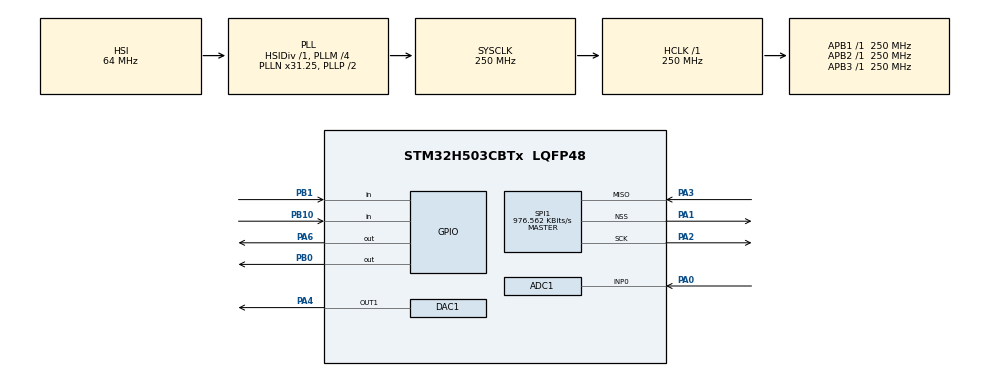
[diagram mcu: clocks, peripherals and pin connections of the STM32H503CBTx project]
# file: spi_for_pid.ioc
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ADC1.Channel-0\#ChannelRegularConversion=ADC_CHANNEL_0
ADC1.MonitoredBy-0\#ChannelRegularConversion=__NULL
ADC1.NbrOfConversionFlag=1
ADC1.OffsetNumber-0\#ChannelRegularConversion=ADC_OFFSET_NONE
ADC1.Rank-0\#ChannelRegularConversion=1
ADC1.SamplingTime-0\#ChannelRegularConversion=ADC_SAMPLETIME_2CYCLES_5
ADC1.master=1
BOOTPATH.BootPathName=LEGACY
BOOTPATH.UserSelectedBootPath=LEGACY
DAC1.DAC_Channel-DAC_OUT1_ExtAndInt=DAC_CHANNEL_1
Mcu.Family=STM32H5
Mcu.Name=STM32H503CBTx
Mcu.Package=LQFP48
NVIC.PriorityGroup=NVIC_PRIORITYGROUP_4
PA0.Signal=ADCx_INP0
PA1.Mode=NSS_Signal_Hard_Output
PA1.Signal=SPI1_NSS
PA13(JTMS/SWDIO).Mode=Serial_Wire
PA13(JTMS/SWDIO).Signal=DEBUG_JTMS-SWDIO
PA14(JTCK/SWCLK).Mode=Serial_Wire
PA14(JTCK/SWCLK).Signal=DEBUG_JTCK-SWCLK
PA2.Mode=RX_Only_Simplex_Unidirect_Master
PA2.Signal=SPI1_SCK
PA3.Mode=RX_Only_Simplex_Unidirect_Master
PA3.Signal=SPI1_MISO
PA4.Signal=COMP_DAC11_group
PA6.Signal=GPIO_Output
PB0.Signal=GPIO_Output
PB1.Signal=GPIO_Input
PB10.Signal=GPIO_Input
PH0-OSC_IN(PH0).Mode=HSE-External-Oscillator
PH0-OSC_IN(PH0).Signal=RCC_OSC_IN
PH1-OSC_OUT(PH1).Mode=HSE-External-Oscillator
PH1-OSC_OUT(PH1).Signal=RCC_OSC_OUT
ProjectManager.HeapSize=0x200
ProjectManager.StackSize=0x400
ProjectManager.TargetToolchain=STM32CubeIDE
RCC.ADCCLockSelection=RCC_ADCDACCLKSOURCE_HSE
RCC.ADCFreq_Value=50000000
RCC.AHBFreq_Value=250000000
RCC.APB1Freq_Value=250000000
RCC.APB1TimFreq_Value=250000000
RCC.APB2Freq_Value=250000000
RCC.APB2TimFreq_Value=250000000
RCC.APB3Freq_Value=250000000
RCC.CSI_VALUE=4000000
RCC.CortexFreq_Value=250000000
RCC.DACLowPowerCLockSelection=RCC_DACLPCLKSOURCE_LSI
RCC.EPOD_VALUE=64000000
RCC.HCLKFreq_Value=250000000
RCC.HSE_VALUE=50000000
RCC.HSI48_VALUE=48000000
RCC.HSIDiv=RCC_HSI_DIV1
RCC.HSI_VALUE=64000000
RCC.LSE_VALUE=32768
RCC.LSIRC_VALUE=32000
RCC.PLLFRACN=2048
RCC.PLLM=4
RCC.PLLN=31
RCC.PLLSourceVirtual=RCC_PLL1_SOURCE_HSI
RCC.SYSCLKFreq_VALUE=250000000
RCC.SYSCLKSource=RCC_SYSCLKSOURCE_PLLCLK
RCC.USBFreq_Value=48000000
RCC.VCOOutputFreq_Value=500000000
SH.ADCx_INP0.0=ADC1_INP0,IN0-Single-Ended
SH.COMP_DAC11_group.0=DAC1_OUT1,DAC_OUT1_ExtAndInt
SPI1.BaudRatePrescaler=SPI_BAUDRATEPRESCALER_256
SPI1.CLKPhase=SPI_PHASE_2EDGE
SPI1.CLKPolarity=SPI_POLARITY_HIGH
SPI1.CalculateBaudRate=976.562 KBits/s
SPI1.DataSize=SPI_DATASIZE_16BIT
SPI1.Direction=SPI_DIRECTION_2LINES_RXONLY
SPI1.FirstBit=SPI_FIRSTBIT_MSB
SPI1.MasterInterDataIdleness=SPI_MASTER_INTERDATA_IDLENESS_06CYCLE
SPI1.MasterSSIdleness=SPI_MASTER_SS_IDLENESS_06CYCLE
SPI1.Mode=SPI_MODE_MASTER
SPI1.VirtualNSS=VM_NSSHARD
SPI1.VirtualType=VM_MASTER
VP_BOOTPATH_VS_BOOTPATH.Mode=BP_Activate
VP_CORTEX_M33_NS_VS_Hclk.Mode=Hclk_Mode
VP_ICACHE_VS_ICACHE.Mode=DefaultMode
VP_MEMORYMAP_VS_MEMORYMAP.Mode=CurAppReg
VP_PWR_VS_DBSignals.Mode=DisableDeadBatterySignals
VP_PWR_VS_LPOM.Mode=PowerOptimisation
VP_PWR_VS_SECSignals.Mode=Security/Privilege
board=custom

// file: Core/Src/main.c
/* USER CODE BEGIN Header */
/**
  ******************************************************************************
  * @file           : main.c
  * @brief          : Main program body
  ******************************************************************************
  * @attention
  *
  * Copyright (c) 2024 STMicroelectronics.
  * All rights reserved.
  *
  * This software is licensed under terms that can be found in the LICENSE file
  * in the root directory of this software component.
  * If no LICENSE file comes with this software, it is provided AS-IS.
  *
  ******************************************************************************
  */
/* USER CODE END Header */
#include "main.h"
#include "../pid_lib/PID.h"

/* USER CODE BEGIN PD */
/* Controller parame5ters */
//#define LOW_HZ

#ifdef LOW_HZ

#define PID_KP  0.01f
#define PID_KI  0.65f
#define PID_KD  0.0f

#define PID_TAU 0.02f

#define PID_LIM_MIN 0.0f
#define PID_LIM_MAX 0.5f

#define PID_LIM_MIN_INT -8.3f
#define PID_LIM_MAX_INT  8.3f

#define SAMPLE_TIME_S 1.0f

/* Maximum run-time of simulation */
#define SIMULATION_TIME_MAX 4.0f

#endif

#ifndef LOW_HZ

#define PID_KP  0.3f
#define PID_KI  0.75f
#define PID_KD  0.0f

#define PID_TAU 0.02f

#define PID_LIM_MIN 0.0f
#define PID_LIM_MAX 0.5f

#define PID_LIM_MIN_INT -3.3f
#define PID_LIM_MAX_INT  3.3f

#define SAMPLE_TIME_S 1.0f

/* Maximum run-time of simulation */
#define SIMULATION_TIME_MAX 4.0f

#endif

#define POWER_SUPLY_3V3 4.5f
#define POWER_SUPLY_5V 5.2f

/* USER CODE END PD */

ADC_HandleTypeDef hadc1;

DAC_HandleTypeDef hdac1;

SPI_HandleTypeDef hspi1;

void SystemClock_Config(void);
static void MX_GPIO_Init(void);
static void MX_ADC1_Init(void);
static void MX_DAC1_Init(void);
static void MX_SPI1_Init(void);
static void MX_ICACHE_Init(void);

/* USER CODE BEGIN 0 */
ticks = 0;

float AD7683_Read(void) {
    uint16_t data = 0;
    float out_data = 0;

    if (HAL_SPI_Receive(&hspi1, (uint8_t*)&data, 2, HAL_MAX_DELAY) != HAL_OK) {
        Error_Handler();
    }

    out_data = ((float)(data)) / (8.4 * 24.4444);
    return out_data;
}

float ADC_Read(void) {
	HAL_ADC_Start(&hadc1);
	HAL_ADC_PollForConversion(&hadc1, 1000);
	uint16_t data = 0;
    float out_data = 0;
    //HAL_ADC_Start(&hadc1);
    data = HAL_ADC_GetValue(&hadc1);
    //HAL_ADC_Stop(&hadc1);
    out_data = (float)data / 4095.0 * 3.3;
    return out_data;
}

void DAC_Write(float data) {
	uint16_t data_to_DAC = (uint16_t)round(data * 4095 / 3.3);

    HAL_DAC_SetValue(&hdac1, DAC_CHANNEL_1, DAC_ALIGN_12B_R, data_to_DAC);
}

/* USER CODE END 0 */

int main(void)
{

  /* USER CODE BEGIN 1 */
    /* Initialise PID controller */
    PIDController pid = { PID_KP, PID_KI, PID_KD,
                          PID_TAU,
                          PID_LIM_MIN, PID_LIM_MAX,
			  PID_LIM_MIN_INT, PID_LIM_MAX_INT,
                          SAMPLE_TIME_S };

    PIDController_Init(&pid);
  /* USER CODE END 1 */

  /* MCU Configuration--------------------------------------------------------*/

  /* Reset of all peripherals, Initializes the Flash interface and the Systick. */
  HAL_Init();

  /* Configure the system clock */
  SystemClock_Config();

  /* Initialize all configured peripherals */
  MX_GPIO_Init();
  MX_ADC1_Init();
  MX_DAC1_Init();
  MX_SPI1_Init();
  MX_ICACHE_Init();
  /* USER CODE BEGIN 2 */
  float setpoint = 0;
  float measurement = 0;
  float v_out = 0;

  static GPIO_PinState previousState = GPIO_PIN_SET;

  HAL_GPIO_WritePin (GPIOA,GPIO_PIN_6, GPIO_PIN_SET);

  HAL_DAC_Start(&hdac1, DAC_CHANNEL_1);
  /* USER CODE END 2 */

  /* Infinite loop */
  while (1)
  {

    /* USER CODE BEGIN 3 */
	  if((previousState == GPIO_PIN_SET) && (HAL_GPIO_ReadPin(GPIOB, GPIO_PIN_10) == GPIO_PIN_RESET))
      {
		  //HAL_GPIO_WritePin (GPIOA,GPIO_PIN_6, GPIO_PIN_RESET);
		  //pid.T = (float)(ticks / 1);
		  setpoint = ADC_Read();
    	  measurement = AD7683_Read();
    	  PIDController_Update(&pid, setpoint, measurement);
    	  v_out = pid.out;
    	  DAC_Write(v_out);

    	  previousState = GPIO_PIN_RESET;
    	  HAL_ADC_Stop(&hadc1);
		  ticks = 0;
		  //HAL_GPIO_WritePin (GPIOA,GPIO_PIN_6, GPIO_PIN_SET);
      }
	  else if (HAL_GPIO_ReadPin(GPIOB, GPIO_PIN_10) == GPIO_PIN_SET) {
    	  previousState = GPIO_PIN_SET;
      }

  }
  /* USER CODE END 3 */
}

void SystemClock_Config(void)
{
  RCC_OscInitTypeDef RCC_OscInitStruct = {0};
  RCC_ClkInitTypeDef RCC_ClkInitStruct = {0};

  /** Configure the main internal regulator output voltage
  */
  __HAL_PWR_VOLTAGESCALING_CONFIG(PWR_REGULATOR_VOLTAGE_SCALE0);

  while(!__HAL_PWR_GET_FLAG(PWR_FLAG_VOSRDY)) {}

  /** Initializes the RCC Oscillators according to the specified parameters
  * in the RCC_OscInitTypeDef structure.
  */
  RCC_OscInitStruct.OscillatorType = RCC_OSCILLATORTYPE_HSI|RCC_OSCILLATORTYPE_LSI
                              |RCC_OSCILLATORTYPE_HSE;
  RCC_OscInitStruct.HSEState = RCC_HSE_ON;
  RCC_OscInitStruct.HSIState = RCC_HSI_ON;
  RCC_OscInitStruct.HSIDiv = RCC_HSI_DIV1;
  RCC_OscInitStruct.HSICalibrationValue = RCC_HSICALIBRATION_DEFAULT;
  RCC_OscInitStruct.LSIState = RCC_LSI_ON;
  RCC_OscInitStruct.PLL.PLLState = RCC_PLL_ON;
  RCC_OscInitStruct.PLL.PLLSource = RCC_PLL1_SOURCE_HSI;
  RCC_OscInitStruct.PLL.PLLM = 4;
  RCC_OscInitStruct.PLL.PLLN = 31;
  RCC_OscInitStruct.PLL.PLLP = 2;
  RCC_OscInitStruct.PLL.PLLQ = 2;
  RCC_OscInitStruct.PLL.PLLR = 2;
  RCC_OscInitStruct.PLL.PLLRGE = RCC_PLL1_VCIRANGE_3;
  RCC_OscInitStruct.PLL.PLLVCOSEL = RCC_PLL1_VCORANGE_WIDE;
  RCC_OscInitStruct.PLL.PLLFRACN = 2048;
  if (HAL_RCC_OscConfig(&RCC_OscInitStruct) != HAL_OK)
  {
    Error_Handler();
  }

  /** Initializes the CPU, AHB and APB buses clocks
  */
  RCC_ClkInitStruct.ClockType = RCC_CLOCKTYPE_HCLK|RCC_CLOCKTYPE_SYSCLK
                              |RCC_CLOCKTYPE_PCLK1|RCC_CLOCKTYPE_PCLK2
                              |RCC_CLOCKTYPE_PCLK3;
  RCC_ClkInitStruct.SYSCLKSource = RCC_SYSCLKSOURCE_PLLCLK;
  RCC_ClkInitStruct.AHBCLKDivider = RCC_SYSCLK_DIV1;
  RCC_ClkInitStruct.APB1CLKDivider = RCC_HCLK_DIV1;
  RCC_ClkInitStruct.APB2CLKDivider = RCC_HCLK_DIV1;
  RCC_ClkInitStruct.APB3CLKDivider = RCC_HCLK_DIV1;

  if (HAL_RCC_ClockConfig(&RCC_ClkInitStruct, FLASH_LATENCY_5) != HAL_OK)
  {
    Error_Handler();
  }
}

static void MX_ADC1_Init(void)
{

  ADC_ChannelConfTypeDef sConfig = {0};

  /** Common config
  */
  hadc1.Instance = ADC1;
  hadc1.Init.ClockPrescaler = ADC_CLOCK_ASYNC_DIV2;
  hadc1.Init.Resolution = ADC_RESOLUTION_12B;
  hadc1.Init.DataAlign = ADC_DATAALIGN_RIGHT;
  hadc1.Init.ScanConvMode = ADC_SCAN_DISABLE;
  hadc1.Init.EOCSelection = ADC_EOC_SINGLE_CONV;
  hadc1.Init.LowPowerAutoWait = DISABLE;
  hadc1.Init.ContinuousConvMode = DISABLE;
  hadc1.Init.NbrOfConversion = 1;
  hadc1.Init.DiscontinuousConvMode = DISABLE;
  hadc1.Init.ExternalTrigConv = ADC_SOFTWARE_START;
  hadc1.Init.ExternalTrigConvEdge = ADC_EXTERNALTRIGCONVEDGE_NONE;
  hadc1.Init.DMAContinuousRequests = DISABLE;
  hadc1.Init.SamplingMode = ADC_SAMPLING_MODE_NORMAL;
  hadc1.Init.Overrun = ADC_OVR_DATA_PRESERVED;
  hadc1.Init.OversamplingMode = DISABLE;
  if (HAL_ADC_Init(&hadc1) != HAL_OK)
  {
    Error_Handler();
  }

  /** Configure Regular Channel
  */
  sConfig.Channel = ADC_CHANNEL_0;
  sConfig.Rank = ADC_REGULAR_RANK_1;
  sConfig.SamplingTime = ADC_SAMPLETIME_2CYCLES_5;
  sConfig.SingleDiff = ADC_SINGLE_ENDED;
  sConfig.OffsetNumber = ADC_OFFSET_NONE;
  sConfig.Offset = 0;
  if (HAL_ADC_ConfigChannel(&hadc1, &sConfig) != HAL_OK)
  {
    Error_Handler();
  }

}

static void MX_DAC1_Init(void)
{

  DAC_ChannelConfTypeDef sConfig = {0};

  /** DAC Initialization
  */
  hdac1.Instance = DAC1;
  if (HAL_DAC_Init(&hdac1) != HAL_OK)
  {
    Error_Handler();
  }

  /** DAC channel OUT1 config
  */
  sConfig.DAC_HighFrequency = DAC_HIGH_FREQUENCY_INTERFACE_MODE_DISABLE;
  sConfig.DAC_DMADoubleDataMode = DISABLE;
  sConfig.DAC_SignedFormat = DISABLE;
  sConfig.DAC_SampleAndHold = DAC_SAMPLEANDHOLD_DISABLE;
  sConfig.DAC_Trigger = DAC_TRIGGER_NONE;
  sConfig.DAC_OutputBuffer = DAC_OUTPUTBUFFER_ENABLE;
  sConfig.DAC_ConnectOnChipPeripheral = DAC_CHIPCONNECT_BOTH;
  sConfig.DAC_UserTrimming = DAC_TRIMMING_FACTORY;
  if (HAL_DAC_ConfigChannel(&hdac1, &sConfig, DAC_CHANNEL_1) != HAL_OK)
  {
    Error_Handler();
  }

}

static void MX_ICACHE_Init(void)
{

  /** Enable instruction cache (default 2-ways set associative cache)
  */
  if (HAL_ICACHE_Enable() != HAL_OK)
  {
    Error_Handler();
  }

}

static void MX_SPI1_Init(void)
{

  /* SPI1 parameter configuration*/
  hspi1.Instance = SPI1;
  hspi1.Init.Mode = SPI_MODE_MASTER;
  hspi1.Init.Direction = SPI_DIRECTION_2LINES_RXONLY;
  hspi1.Init.DataSize = SPI_DATASIZE_16BIT;
  hspi1.Init.CLKPolarity = SPI_POLARITY_HIGH;
  hspi1.Init.CLKPhase = SPI_PHASE_2EDGE;
  hspi1.Init.NSS = SPI_NSS_HARD_OUTPUT;
  hspi1.Init.BaudRatePrescaler = SPI_BAUDRATEPRESCALER_256;
  hspi1.Init.FirstBit = SPI_FIRSTBIT_MSB;
  hspi1.Init.TIMode = SPI_TIMODE_DISABLE;
  hspi1.Init.CRCCalculation = SPI_CRCCALCULATION_DISABLE;
  hspi1.Init.CRCPolynomial = 0x7;
  hspi1.Init.NSSPMode = SPI_NSS_PULSE_DISABLE;
  hspi1.Init.NSSPolarity = SPI_NSS_POLARITY_LOW;
  hspi1.Init.FifoThreshold = SPI_FIFO_THRESHOLD_01DATA;
  hspi1.Init.MasterSSIdleness = SPI_MASTER_SS_IDLENESS_06CYCLE;
  hspi1.Init.MasterInterDataIdleness = SPI_MASTER_INTERDATA_IDLENESS_06CYCLE;
  hspi1.Init.MasterReceiverAutoSusp = SPI_MASTER_RX_AUTOSUSP_DISABLE;
  hspi1.Init.MasterKeepIOState = SPI_MASTER_KEEP_IO_STATE_DISABLE;
  hspi1.Init.IOSwap = SPI_IO_SWAP_DISABLE;
  hspi1.Init.ReadyMasterManagement = SPI_RDY_MASTER_MANAGEMENT_INTERNALLY;
  hspi1.Init.ReadyPolarity = SPI_RDY_POLARITY_HIGH;
  if (HAL_SPI_Init(&hspi1) != HAL_OK)
  {
    Error_Handler();
  }

}

static void MX_GPIO_Init(void)
{
  GPIO_InitTypeDef GPIO_InitStruct = {0};

  /* GPIO Ports Clock Enable */
  __HAL_RCC_GPIOH_CLK_ENABLE();
  __HAL_RCC_GPIOA_CLK_ENABLE();
  __HAL_RCC_GPIOB_CLK_ENABLE();

  /*Configure GPIO pin Output Level */
  HAL_GPIO_WritePin(GPIOA, GPIO_PIN_6, GPIO_PIN_RESET);

  /*Configure GPIO pin Output Level */
  HAL_GPIO_WritePin(GPIOB, GPIO_PIN_0, GPIO_PIN_RESET);

  /*Configure GPIO pin : PA6 */
  GPIO_InitStruct.Pin = GPIO_PIN_6;
  GPIO_InitStruct.Mode = GPIO_MODE_OUTPUT_PP;
  GPIO_InitStruct.Pull = GPIO_NOPULL;
  GPIO_InitStruct.Speed = GPIO_SPEED_FREQ_LOW;
  HAL_GPIO_Init(GPIOA, &GPIO_InitStruct);

  /*Configure GPIO pin : PB0 */
  GPIO_InitStruct.Pin = GPIO_PIN_0;
  GPIO_InitStruct.Mode = GPIO_MODE_OUTPUT_PP;
  GPIO_InitStruct.Pull = GPIO_NOPULL;
  GPIO_InitStruct.Speed = GPIO_SPEED_FREQ_LOW;
  HAL_GPIO_Init(GPIOB, &GPIO_InitStruct);

  /*Configure GPIO pins : PB1 PB10 */
  GPIO_InitStruct.Pin = GPIO_PIN_1|GPIO_PIN_10;
  GPIO_InitStruct.Mode = GPIO_MODE_INPUT;
  GPIO_InitStruct.Pull = GPIO_NOPULL;
  HAL_GPIO_Init(GPIOB, &GPIO_InitStruct);

}

void Error_Handler(void)
{
  __disable_irq();
  while (1)
  {
  }
}
